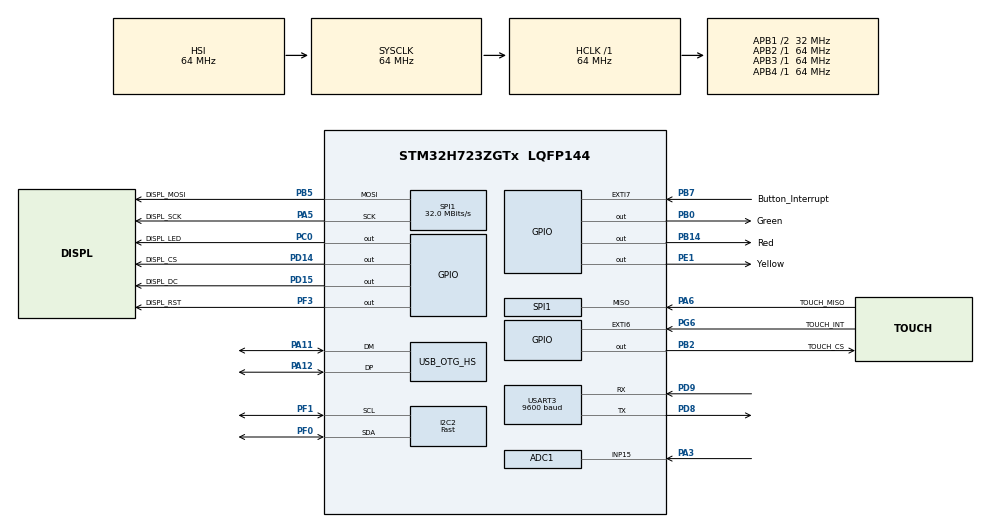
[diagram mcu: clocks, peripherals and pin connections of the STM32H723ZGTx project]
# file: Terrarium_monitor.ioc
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ADC1.Channel-1\#ChannelRegularConversion=ADC_CHANNEL_15
ADC1.NbrOfConversionFlag=1
ADC1.OffsetNumber-1\#ChannelRegularConversion=ADC_OFFSET_NONE
ADC1.OffsetSignedSaturation-1\#ChannelRegularConversion=DISABLE
ADC1.Rank-1\#ChannelRegularConversion=1
ADC1.SamplingTime-1\#ChannelRegularConversion=ADC_SAMPLETIME_1CYCLE_5
ADC1.master=1
Dma.Request0=SPI1_TX
Dma.SPI1_TX.0.Direction=DMA_MEMORY_TO_PERIPH
Dma.SPI1_TX.0.EventEnable=DISABLE
Dma.SPI1_TX.0.FIFOMode=DMA_FIFOMODE_DISABLE
Dma.SPI1_TX.0.Instance=DMA1_Stream0
Dma.SPI1_TX.0.MemDataAlignment=DMA_MDATAALIGN_BYTE
Dma.SPI1_TX.0.MemInc=DMA_MINC_ENABLE
Dma.SPI1_TX.0.Mode=DMA_NORMAL
Dma.SPI1_TX.0.PeriphDataAlignment=DMA_PDATAALIGN_BYTE
Dma.SPI1_TX.0.PeriphInc=DMA_PINC_DISABLE
Dma.SPI1_TX.0.Polarity=HAL_DMAMUX_REQ_GEN_RISING
Dma.SPI1_TX.0.Priority=DMA_PRIORITY_LOW
Dma.SPI1_TX.0.RequestNumber=1
Dma.SPI1_TX.0.SignalID=NONE
Dma.SPI1_TX.0.SyncEnable=DISABLE
Dma.SPI1_TX.0.SyncPolarity=HAL_DMAMUX_SYNC_NO_EVENT
Dma.SPI1_TX.0.SyncRequestNumber=1
Dma.SPI1_TX.0.SyncSignalID=NONE
FREERTOS.Tasks01=BoardLedTask,32,256,StartBoardLedTask,Default,NULL,Dynamic,NULL,NULL;UartTask,24,256,StartUartTask,Default,NULL,Dynamic,NULL,NULL;TemperatureRead,33,256,StartTemperatureReadTask,Default,NULL,Dynamic,NULL,NULL;UVSensorTask,32,256,StartUVSensorTask,Default,NULL,Dynamic,NULL,NULL;ButtonTask,24,256,StartButtonTask,Default,NULL,Dynamic,NULL,NULL;TouchGFXTask,24,8192,TouchGFX_Task,As external,NULL,Dynamic,NULL,NULL
FREERTOS.configCHECK_FOR_STACK_OVERFLOW=1
FREERTOS.configGENERATE_RUN_TIME_STATS=1
FREERTOS.configRECORD_STACK_HIGH_ADDRESS=1
FREERTOS.configTOTAL_HEAP_SIZE=65536
FREERTOS.configUSE_POSIX_ERRNO=0
I2C2.Analog_Filter=I2C_ANALOGFILTER_ENABLE
I2C2.I2C_Speed_Mode=I2C_Fast
I2C2.Timing=0x00300F38
Mcu.Family=STM32H7
Mcu.Name=STM32H723ZGTx
Mcu.Package=LQFP144
NVIC.DMA1_Stream0_IRQn=true\:5\:0\:false\:false\:true\:true\:false\:true\:true
NVIC.EXTI9_5_IRQn=true\:5\:0\:false\:false\:true\:true\:true\:true\:true
NVIC.OTG_HS_IRQn=true\:5\:0\:false\:false\:true\:true\:false\:true\:true
NVIC.PriorityGroup=NVIC_PRIORITYGROUP_4
NVIC.SPI1_IRQn=true\:5\:0\:false\:false\:true\:true\:false\:true\:true
NVIC.TIM2_IRQn=true\:15\:0\:false\:false\:true\:false\:false\:true\:true
NVIC.TimeBase=TIM2_IRQn
NVIC.TimeBaseIP=TIM2
PA11.Mode=Device_Only_FS
PA11.Signal=USB_OTG_HS_DM
PA12.Mode=Device_Only_FS
PA12.Signal=USB_OTG_HS_DP
PA3.Signal=ADCx_INP15
PA5.GPIO_Label=DISPL_SCK
PA5.GPIO_Speed=GPIO_SPEED_FREQ_VERY_HIGH
PA5.Mode=Full_Duplex_Master
PA5.Signal=SPI1_SCK
PA6.GPIO_Label=TOUCH_MISO
PA6.GPIO_Speed=GPIO_SPEED_FREQ_VERY_HIGH
PA6.Mode=Full_Duplex_Master
PA6.Signal=SPI1_MISO
PB0.GPIO_Label=Green
PB0.Signal=GPIO_Output
PB14.GPIO_Label=Red
PB14.Signal=GPIO_Output
PB2.GPIO_Label=TOUCH_CS
PB2.GPIO_Speed=GPIO_SPEED_FREQ_HIGH
PB2.PinState=GPIO_PIN_SET
PB2.Signal=GPIO_Output
PB5.GPIO_Label=DISPL_MOSI
PB5.GPIO_Speed=GPIO_SPEED_FREQ_VERY_HIGH
PB5.Mode=Full_Duplex_Master
PB5.Signal=SPI1_MOSI
PB7.GPIO_Label=Button_Interrupt
PB7.GPIO_ModeDefaultEXTI=GPIO_MODE_IT_FALLING
PB7.GPIO_PuPd=GPIO_PULLUP
PB7.Signal=GPXTI7
PC0.GPIO_Label=DISPL_LED
PC0.PinState=GPIO_PIN_SET
PC0.Signal=GPIO_Output
PD14.GPIO_Label=DISPL_CS
PD14.GPIO_Speed=GPIO_SPEED_FREQ_HIGH
PD14.PinState=GPIO_PIN_SET
PD14.Signal=GPIO_Output
PD15.GPIO_Label=DISPL_DC
PD15.GPIO_Speed=GPIO_SPEED_FREQ_HIGH
PD15.Signal=GPIO_Output
PD8.Mode=Asynchronous
PD8.Signal=USART3_TX
PD9.Mode=Asynchronous
PD9.Signal=USART3_RX
PE1.GPIO_Label=Yellow
PE1.Signal=GPIO_Output
PF0.Mode=I2C
PF0.Signal=I2C2_SDA
PF1.Mode=I2C
PF1.Signal=I2C2_SCL
PF3.GPIO_Label=DISPL_RST
PF3.GPIO_Speed=GPIO_SPEED_FREQ_LOW
PF3.Signal=GPIO_Output
PG6.GPIO_Label=TOUCH_INT
PG6.GPIO_ModeDefaultEXTI=GPIO_MODE_IT_FALLING
PG6.GPIO_PuPd=GPIO_PULLUP
PG6.Signal=GPXTI6
PH0-OSC_IN.Mode=HSE-External-Oscillator
PH0-OSC_IN.Signal=RCC_OSC_IN
PH1-OSC_OUT.Mode=HSE-External-Oscillator
PH1-OSC_OUT.Signal=RCC_OSC_OUT
ProjectManager.HeapSize=0x200
ProjectManager.StackSize=0x400
ProjectManager.TargetToolchain=STM32CubeIDE
RCC.ADCFreq_Value=38400000
RCC.APB1Freq_Value=32000000
RCC.APB2Freq_Value=64000000
RCC.APB3Freq_Value=64000000
RCC.APB4Freq_Value=64000000
RCC.CortexFreq_Value=64000000
RCC.D2PPRE1=RCC_APB1_DIV2
RCC.DIVM1=4
RCC.DIVM2=4
RCC.DIVN1=12
RCC.DIVN2=12
RCC.DIVP2=5
RCC.DIVQ1=3
RCC.HCLKFreq_Value=64000000
RCC.HSE_VALUE=25000000
RCC.PLL2FRACN=0
RCC.PLL2_VCO_SEL-AdvancedSettings=RCC_PLL2VCOWIDE
RCC.PLL3_VCI_Range-AdvancedSettings=RCC_PLL3VCIRANGE_3
RCC.PLLFRACN=0
RCC.SYSCLKFreq_VALUE=64000000
RCC.USBCLockSelection=RCC_USBCLKSOURCE_HSI48
RCC.USBFreq_Value=48000000
SH.ADCx_INP15.0=ADC1_INP15,IN15-Single-Ended
SPI1.CalculateBaudRate=32.0 MBits/s
SPI1.DataSize=SPI_DATASIZE_8BIT
SPI1.Direction=SPI_DIRECTION_2LINES
SPI1.Mode=SPI_MODE_MASTER
SPI1.NSSPMode=SPI_NSS_PULSE_ENABLE
SPI1.VirtualType=VM_MASTER
STMicroelectronics.X-CUBE-TOUCHGFX.4.22.1.ApplicationCcGraphicsJjApplication=TouchGFXOoGenerator
STMicroelectronics.X-CUBE-TOUCHGFX.4.22.1.tgfx_buffering_strategy=Partial
STMicroelectronics.X-CUBE-TOUCHGFX.4.22.1.tgfx_custom_height=320
STMicroelectronics.X-CUBE-TOUCHGFX.4.22.1.tgfx_custom_width=480
STMicroelectronics.X-CUBE-TOUCHGFX.4.22.1.tgfx_partialfb_transmit_strategy=Disabled
STMicroelectronics.X-CUBE-TOUCHGFX.4.22.1_IsPackSelfContextualization=true
TIM3.Channel-PWM\ Generation1\ No\ Output=TIM_CHANNEL_1
USART3.BaudRate=9600
USART3.VirtualMode-Asynchronous=VM_ASYNC
USB_DEVICE.CLASS_NAME_HS=CDC
USB_DEVICE.PRODUCT_STRING_CDC_HS=STM32 ComPort for USB
USB_DEVICE.VirtualMode=Cdc
USB_DEVICE.VirtualModeHS=Cdc_HS
USB_OTG_HS.VirtualMode-Device_Only_FS=Device_Only_FS
VP_CRC_VS_CRC.Mode=CRC_Activate
VP_DMA2D_VS_DMA2D.Mode=DMA2D_Activate
VP_FREERTOS_VS_CMSIS_V2.Mode=CMSIS_V2
VP_STMicroelectronics.X-CUBE-TOUCHGFX_VS_GraphicsJjApplication_4.22.1.Mode=GraphicsJjApplication
VP_SYS_VS_tim2.Mode=TIM2
VP_TIM1_VS_ClockSourceITR.Mode=TriggerSource_ITR0
VP_TIM1_VS_ControllerModeClock.Mode=Clock Mode
VP_TIM3_VS_ClockSourceITR.Mode=TriggerSource_ITR0
VP_TIM3_VS_ControllerModeClock.Mode=Clock Mode
VP_TIM3_VS_no_output1.Mode=PWM Generation1 No Output
VP_USB_DEVICE_VS_USB_DEVICE_CDC_HS.Mode=CDC_HS
board=custom

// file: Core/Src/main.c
/* USER CODE BEGIN Header */
/**
  ******************************************************************************
  * @file           : main.cpp
  * @brief          : Main program body
  ******************************************************************************
  * @attention
  *
  * Copyright (c) 2023 STMicroelectronics.
  * All rights reserved.
  *
  * This software is licensed under terms that can be found in the LICENSE file
  * in the root directory of this software component.
  * If no LICENSE file comes with this software, it is provided AS-IS.
  *
  ******************************************************************************
  */
/* USER CODE END Header */
#include "main.h"
#include "cmsis_os.h"
#include "app_touchgfx.h"
#include "usb_device.h"

/* USER CODE BEGIN Includes */
#include <stdio.h>
#include "usbd_cdc_if.h"
#include "string.h"
#include "semphr.h"
#include "queue.h"
/* USER CODE END Includes */

ADC_HandleTypeDef hadc1;

CRC_HandleTypeDef hcrc;

DMA2D_HandleTypeDef hdma2d;

I2C_HandleTypeDef hi2c2;

SPI_HandleTypeDef hspi1;
DMA_HandleTypeDef hdma_spi1_tx;

TIM_HandleTypeDef htim1;
TIM_HandleTypeDef htim3;

UART_HandleTypeDef huart3;

/* Definitions for BoardLedTask */
osThreadId_t BoardLedTaskHandle;
const osThreadAttr_t BoardLedTask_attributes = {
  .name = "BoardLedTask",
  .stack_size = 256 * 4,
  .priority = (osPriority_t) osPriorityAboveNormal,
};
/* Definitions for UartTask */
osThreadId_t UartTaskHandle;
const osThreadAttr_t UartTask_attributes = {
  .name = "UartTask",
  .stack_size = 256 * 4,
  .priority = (osPriority_t) osPriorityNormal,
};
/* Definitions for TemperatureRead */
osThreadId_t TemperatureReadHandle;
const osThreadAttr_t TemperatureRead_attributes = {
  .name = "TemperatureRead",
  .stack_size = 256 * 4,
  .priority = (osPriority_t) osPriorityAboveNormal1,
};
/* Definitions for UVSensorTask */
osThreadId_t UVSensorTaskHandle;
const osThreadAttr_t UVSensorTask_attributes = {
  .name = "UVSensorTask",
  .stack_size = 256 * 4,
  .priority = (osPriority_t) osPriorityAboveNormal,
};
/* Definitions for ButtonTask */
osThreadId_t ButtonTaskHandle;
const osThreadAttr_t ButtonTask_attributes = {
  .name = "ButtonTask",
  .stack_size = 256 * 4,
  .priority = (osPriority_t) osPriorityNormal,
};
/* Definitions for TouchGFXTask */
osThreadId_t TouchGFXTaskHandle;
const osThreadAttr_t TouchGFXTask_attributes = {
  .name = "TouchGFXTask",
  .stack_size = 8192 * 4,
  .priority = (osPriority_t) osPriorityNormal,
};

void SystemClock_Config(void);
static void MX_GPIO_Init(void);
static void MX_DMA_Init(void);
static void MX_ADC1_Init(void);
static void MX_CRC_Init(void);
static void MX_DMA2D_Init(void);
static void MX_SPI1_Init(void);
static void MX_USART3_UART_Init(void);
static void MX_TIM1_Init(void);
static void MX_TIM3_Init(void);
static void MX_I2C2_Init(void);
void StartBoardLedTask(void *argument);
void StartUartTask(void *argument);
void StartTemperatureReadTask(void *argument);
void StartUVSensorTask(void *argument);
void StartButtonTask(void *argument);
extern void TouchGFX_Task(void *argument);

/* USER CODE BEGIN 0 */
SemaphoreHandle_t buttonSemaphore;
extern xQueueHandle tempMessage;
extern xQueueHandle humMessage;
extern xQueueHandle uvMessage;
extern float tempVal;
extern unsigned int humVal;
extern float uvVal;
/* USER CODE END 0 */

int main(void)
{

  /* MCU Configuration--------------------------------------------------------*/

  /* Reset of all peripherals, Initializes the Flash interface and the Systick. */
  HAL_Init();

  /* Configure the system clock */
  SystemClock_Config();

  /* Initialize all configured peripherals */
  MX_GPIO_Init();
  MX_DMA_Init();
  MX_ADC1_Init();
  MX_CRC_Init();
  MX_DMA2D_Init();
  MX_SPI1_Init();
  MX_USART3_UART_Init();
  MX_TIM1_Init();
  MX_TIM3_Init();
  MX_I2C2_Init();
  MX_TouchGFX_Init();
  /* Call PreOsInit function */
  MX_TouchGFX_PreOSInit();
  /* USER CODE BEGIN 2 */
  Displ_Init(Displ_Orientat_0);
  touchgfxSignalVSync();
  /* USER CODE END 2 */

  /* Init scheduler */
  osKernelInitialize();

  /* USER CODE BEGIN RTOS_SEMAPHORES */
  buttonSemaphore = xSemaphoreCreateBinary();
  /* USER CODE END RTOS_SEMAPHORES */

  /* Create the thread(s) */
  /* creation of BoardLedTask */
  BoardLedTaskHandle = osThreadNew(StartBoardLedTask, NULL, &BoardLedTask_attributes);

  /* creation of UartTask */
  UartTaskHandle = osThreadNew(StartUartTask, NULL, &UartTask_attributes);

  /* creation of TemperatureRead */
  TemperatureReadHandle = osThreadNew(StartTemperatureReadTask, NULL, &TemperatureRead_attributes);

  /* creation of UVSensorTask */
  UVSensorTaskHandle = osThreadNew(StartUVSensorTask, NULL, &UVSensorTask_attributes);

  /* creation of ButtonTask */
  ButtonTaskHandle = osThreadNew(StartButtonTask, NULL, &ButtonTask_attributes);

  /* creation of TouchGFXTask */
  TouchGFXTaskHandle = osThreadNew(TouchGFX_Task, NULL, &TouchGFXTask_attributes);

  /* Start scheduler */
  osKernelStart();

  /* We should never get here as control is now taken by the scheduler */
  /* Infinite loop */
  while (1)
  {
	  MX_TouchGFX_Process();
  }
}

void SystemClock_Config(void)
{
  RCC_OscInitTypeDef RCC_OscInitStruct = {0};
  RCC_ClkInitTypeDef RCC_ClkInitStruct = {0};

  /** Supply configuration update enable
  */
  HAL_PWREx_ConfigSupply(PWR_LDO_SUPPLY);

  /** Configure the main internal regulator output voltage
  */
  __HAL_PWR_VOLTAGESCALING_CONFIG(PWR_REGULATOR_VOLTAGE_SCALE3);

  while(!__HAL_PWR_GET_FLAG(PWR_FLAG_VOSRDY)) {}

  /** Initializes the RCC Oscillators according to the specified parameters
  * in the RCC_OscInitTypeDef structure.
  */
  RCC_OscInitStruct.OscillatorType = RCC_OSCILLATORTYPE_HSI48|RCC_OSCILLATORTYPE_HSI;
  RCC_OscInitStruct.HSIState = RCC_HSI_DIV1;
  RCC_OscInitStruct.HSICalibrationValue = 64;
  RCC_OscInitStruct.HSI48State = RCC_HSI48_ON;
  RCC_OscInitStruct.PLL.PLLState = RCC_PLL_ON;
  RCC_OscInitStruct.PLL.PLLSource = RCC_PLLSOURCE_HSI;
  RCC_OscInitStruct.PLL.PLLM = 4;
  RCC_OscInitStruct.PLL.PLLN = 12;
  RCC_OscInitStruct.PLL.PLLP = 2;
  RCC_OscInitStruct.PLL.PLLQ = 3;
  RCC_OscInitStruct.PLL.PLLR = 2;
  RCC_OscInitStruct.PLL.PLLRGE = RCC_PLL1VCIRANGE_3;
  RCC_OscInitStruct.PLL.PLLVCOSEL = RCC_PLL1VCOWIDE;
  RCC_OscInitStruct.PLL.PLLFRACN = 0;
  if (HAL_RCC_OscConfig(&RCC_OscInitStruct) != HAL_OK)
  {
    Error_Handler();
  }

  /** Initializes the CPU, AHB and APB buses clocks
  */
  RCC_ClkInitStruct.ClockType = RCC_CLOCKTYPE_HCLK|RCC_CLOCKTYPE_SYSCLK
                              |RCC_CLOCKTYPE_PCLK1|RCC_CLOCKTYPE_PCLK2
                              |RCC_CLOCKTYPE_D3PCLK1|RCC_CLOCKTYPE_D1PCLK1;
  RCC_ClkInitStruct.SYSCLKSource = RCC_SYSCLKSOURCE_HSI;
  RCC_ClkInitStruct.SYSCLKDivider = RCC_SYSCLK_DIV1;
  RCC_ClkInitStruct.AHBCLKDivider = RCC_HCLK_DIV1;
  RCC_ClkInitStruct.APB3CLKDivider = RCC_APB3_DIV1;
  RCC_ClkInitStruct.APB1CLKDivider = RCC_APB1_DIV2;
  RCC_ClkInitStruct.APB2CLKDivider = RCC_APB2_DIV1;
  RCC_ClkInitStruct.APB4CLKDivider = RCC_APB4_DIV1;

  if (HAL_RCC_ClockConfig(&RCC_ClkInitStruct, FLASH_LATENCY_1) != HAL_OK)
  {
    Error_Handler();
  }
}

static void MX_ADC1_Init(void)
{

  ADC_MultiModeTypeDef multimode = {0};
  ADC_ChannelConfTypeDef sConfig = {0};

  /** Common config
  */
  hadc1.Instance = ADC1;
  hadc1.Init.ClockPrescaler = ADC_CLOCK_ASYNC_DIV1;
  hadc1.Init.Resolution = ADC_RESOLUTION_16B;
  hadc1.Init.ScanConvMode = ADC_SCAN_DISABLE;
  hadc1.Init.EOCSelection = ADC_EOC_SINGLE_CONV;
  hadc1.Init.LowPowerAutoWait = DISABLE;
  hadc1.Init.ContinuousConvMode = DISABLE;
  hadc1.Init.NbrOfConversion = 1;
  hadc1.Init.DiscontinuousConvMode = DISABLE;
  hadc1.Init.ExternalTrigConv = ADC_SOFTWARE_START;
  hadc1.Init.ExternalTrigConvEdge = ADC_EXTERNALTRIGCONVEDGE_NONE;
  hadc1.Init.ConversionDataManagement = ADC_CONVERSIONDATA_DR;
  hadc1.Init.Overrun = ADC_OVR_DATA_PRESERVED;
  hadc1.Init.LeftBitShift = ADC_LEFTBITSHIFT_NONE;
  hadc1.Init.OversamplingMode = DISABLE;
  if (HAL_ADC_Init(&hadc1) != HAL_OK)
  {
    Error_Handler();
  }

  /** Configure the ADC multi-mode
  */
  multimode.Mode = ADC_MODE_INDEPENDENT;
  if (HAL_ADCEx_MultiModeConfigChannel(&hadc1, &multimode) != HAL_OK)
  {
    Error_Handler();
  }

  /** Configure Regular Channel
  */
  sConfig.Channel = ADC_CHANNEL_15;
  sConfig.Rank = ADC_REGULAR_RANK_1;
  sConfig.SamplingTime = ADC_SAMPLETIME_1CYCLE_5;
  sConfig.SingleDiff = ADC_SINGLE_ENDED;
  sConfig.OffsetNumber = ADC_OFFSET_NONE;
  sConfig.Offset = 0;
  sConfig.OffsetSignedSaturation = DISABLE;
  if (HAL_ADC_ConfigChannel(&hadc1, &sConfig) != HAL_OK)
  {
    Error_Handler();
  }

}

static void MX_CRC_Init(void)
{

  hcrc.Instance = CRC;
  hcrc.Init.DefaultPolynomialUse = DEFAULT_POLYNOMIAL_ENABLE;
  hcrc.Init.DefaultInitValueUse = DEFAULT_INIT_VALUE_ENABLE;
  hcrc.Init.InputDataInversionMode = CRC_INPUTDATA_INVERSION_NONE;
  hcrc.Init.OutputDataInversionMode = CRC_OUTPUTDATA_INVERSION_DISABLE;
  hcrc.InputDataFormat = CRC_INPUTDATA_FORMAT_BYTES;
  if (HAL_CRC_Init(&hcrc) != HAL_OK)
  {
    Error_Handler();
  }

}

static void MX_DMA2D_Init(void)
{

  hdma2d.Instance = DMA2D;
  hdma2d.Init.Mode = DMA2D_M2M;
  hdma2d.Init.ColorMode = DMA2D_OUTPUT_ARGB8888;
  hdma2d.Init.OutputOffset = 0;
  hdma2d.LayerCfg[1].InputOffset = 0;
  hdma2d.LayerCfg[1].InputColorMode = DMA2D_INPUT_ARGB8888;
  hdma2d.LayerCfg[1].AlphaMode = DMA2D_NO_MODIF_ALPHA;
  hdma2d.LayerCfg[1].InputAlpha = 0;
  hdma2d.LayerCfg[1].AlphaInverted = DMA2D_REGULAR_ALPHA;
  hdma2d.LayerCfg[1].RedBlueSwap = DMA2D_RB_REGULAR;
  hdma2d.LayerCfg[1].ChromaSubSampling = DMA2D_NO_CSS;
  if (HAL_DMA2D_Init(&hdma2d) != HAL_OK)
  {
    Error_Handler();
  }
  if (HAL_DMA2D_ConfigLayer(&hdma2d, 1) != HAL_OK)
  {
    Error_Handler();
  }

}

static void MX_I2C2_Init(void)
{

  hi2c2.Instance = I2C2;
  hi2c2.Init.Timing = 0x00300F38;
  hi2c2.Init.OwnAddress1 = 0;
  hi2c2.Init.AddressingMode = I2C_ADDRESSINGMODE_7BIT;
  hi2c2.Init.DualAddressMode = I2C_DUALADDRESS_DISABLE;
  hi2c2.Init.OwnAddress2 = 0;
  hi2c2.Init.OwnAddress2Masks = I2C_OA2_NOMASK;
  hi2c2.Init.GeneralCallMode = I2C_GENERALCALL_DISABLE;
  hi2c2.Init.NoStretchMode = I2C_NOSTRETCH_DISABLE;
  if (HAL_I2C_Init(&hi2c2) != HAL_OK)
  {
    Error_Handler();
  }

  /** Configure Analogue filter
  */
  if (HAL_I2CEx_ConfigAnalogFilter(&hi2c2, I2C_ANALOGFILTER_ENABLE) != HAL_OK)
  {
    Error_Handler();
  }

  /** Configure Digital filter
  */
  if (HAL_I2CEx_ConfigDigitalFilter(&hi2c2, 0) != HAL_OK)
  {
    Error_Handler();
  }

}

static void MX_SPI1_Init(void)
{

  /* SPI1 parameter configuration*/
  hspi1.Instance = SPI1;
  hspi1.Init.Mode = SPI_MODE_MASTER;
  hspi1.Init.Direction = SPI_DIRECTION_2LINES;
  hspi1.Init.DataSize = SPI_DATASIZE_8BIT;
  hspi1.Init.CLKPolarity = SPI_POLARITY_LOW;
  hspi1.Init.CLKPhase = SPI_PHASE_1EDGE;
  hspi1.Init.NSS = SPI_NSS_SOFT;
  hspi1.Init.BaudRatePrescaler = SPI_BAUDRATEPRESCALER_2;
  hspi1.Init.FirstBit = SPI_FIRSTBIT_MSB;
  hspi1.Init.TIMode = SPI_TIMODE_DISABLE;
  hspi1.Init.CRCCalculation = SPI_CRCCALCULATION_DISABLE;
  hspi1.Init.CRCPolynomial = 0x0;
  hspi1.Init.NSSPMode = SPI_NSS_PULSE_ENABLE;
  hspi1.Init.NSSPolarity = SPI_NSS_POLARITY_LOW;
  hspi1.Init.FifoThreshold = SPI_FIFO_THRESHOLD_01DATA;
  hspi1.Init.TxCRCInitializationPattern = SPI_CRC_INITIALIZATION_ALL_ZERO_PATTERN;
  hspi1.Init.RxCRCInitializationPattern = SPI_CRC_INITIALIZATION_ALL_ZERO_PATTERN;
  hspi1.Init.MasterSSIdleness = SPI_MASTER_SS_IDLENESS_00CYCLE;
  hspi1.Init.MasterInterDataIdleness = SPI_MASTER_INTERDATA_IDLENESS_00CYCLE;
  hspi1.Init.MasterReceiverAutoSusp = SPI_MASTER_RX_AUTOSUSP_DISABLE;
  hspi1.Init.MasterKeepIOState = SPI_MASTER_KEEP_IO_STATE_DISABLE;
  hspi1.Init.IOSwap = SPI_IO_SWAP_DISABLE;
  if (HAL_SPI_Init(&hspi1) != HAL_OK)
  {
    Error_Handler();
  }

}

static void MX_TIM1_Init(void)
{

  TIM_SlaveConfigTypeDef sSlaveConfig = {0};
  TIM_MasterConfigTypeDef sMasterConfig = {0};

  htim1.Instance = TIM1;
  htim1.Init.Prescaler = 0;
  htim1.Init.CounterMode = TIM_COUNTERMODE_UP;
  htim1.Init.Period = 65535;
  htim1.Init.ClockDivision = TIM_CLOCKDIVISION_DIV1;
  htim1.Init.RepetitionCounter = 0;
  htim1.Init.AutoReloadPreload = TIM_AUTORELOAD_PRELOAD_DISABLE;
  if (HAL_TIM_Base_Init(&htim1) != HAL_OK)
  {
    Error_Handler();
  }
  sSlaveConfig.SlaveMode = TIM_SLAVEMODE_EXTERNAL1;
  sSlaveConfig.InputTrigger = TIM_TS_ITR0;
  if (HAL_TIM_SlaveConfigSynchro(&htim1, &sSlaveConfig) != HAL_OK)
  {
    Error_Handler();
  }
  sMasterConfig.MasterOutputTrigger = TIM_TRGO_RESET;
  sMasterConfig.MasterOutputTrigger2 = TIM_TRGO2_RESET;
  sMasterConfig.MasterSlaveMode = TIM_MASTERSLAVEMODE_DISABLE;
  if (HAL_TIMEx_MasterConfigSynchronization(&htim1, &sMasterConfig) != HAL_OK)
  {
    Error_Handler();
  }

}

static void MX_TIM3_Init(void)
{

  TIM_SlaveConfigTypeDef sSlaveConfig = {0};
  TIM_MasterConfigTypeDef sMasterConfig = {0};
  TIM_OC_InitTypeDef sConfigOC = {0};

  htim3.Instance = TIM3;
  htim3.Init.Prescaler = 0;
  htim3.Init.CounterMode = TIM_COUNTERMODE_UP;
  htim3.Init.Period = 65535;
  htim3.Init.ClockDivision = TIM_CLOCKDIVISION_DIV1;
  htim3.Init.AutoReloadPreload = TIM_AUTORELOAD_PRELOAD_DISABLE;
  if (HAL_TIM_Base_Init(&htim3) != HAL_OK)
  {
    Error_Handler();
  }
  if (HAL_TIM_PWM_Init(&htim3) != HAL_OK)
  {
    Error_Handler();
  }
  sSlaveConfig.SlaveMode = TIM_SLAVEMODE_EXTERNAL1;
  sSlaveConfig.InputTrigger = TIM_TS_ITR0;
  if (HAL_TIM_SlaveConfigSynchro(&htim3, &sSlaveConfig) != HAL_OK)
  {
    Error_Handler();
  }
  sMasterConfig.MasterOutputTrigger = TIM_TRGO_RESET;
  sMasterConfig.MasterSlaveMode = TIM_MASTERSLAVEMODE_DISABLE;
  if (HAL_TIMEx_MasterConfigSynchronization(&htim3, &sMasterConfig) != HAL_OK)
  {
    Error_Handler();
  }
  sConfigOC.OCMode = TIM_OCMODE_PWM1;
  sConfigOC.Pulse = 0;
  sConfigOC.OCPolarity = TIM_OCPOLARITY_HIGH;
  sConfigOC.OCFastMode = TIM_OCFAST_DISABLE;
  if (HAL_TIM_PWM_ConfigChannel(&htim3, &sConfigOC, TIM_CHANNEL_1) != HAL_OK)
  {
    Error_Handler();
  }

}

static void MX_USART3_UART_Init(void)
{

  huart3.Instance = USART3;
  huart3.Init.BaudRate = 9600;
  huart3.Init.WordLength = UART_WORDLENGTH_8B;
  huart3.Init.StopBits = UART_STOPBITS_1;
  huart3.Init.Parity = UART_PARITY_NONE;
  huart3.Init.Mode = UART_MODE_TX_RX;
  huart3.Init.HwFlowCtl = UART_HWCONTROL_NONE;
  huart3.Init.OverSampling = UART_OVERSAMPLING_16;
  huart3.Init.OneBitSampling = UART_ONE_BIT_SAMPLE_DISABLE;
  huart3.Init.ClockPrescaler = UART_PRESCALER_DIV1;
  huart3.AdvancedInit.AdvFeatureInit = UART_ADVFEATURE_NO_INIT;
  if (HAL_UART_Init(&huart3) != HAL_OK)
  {
    Error_Handler();
  }
  if (HAL_UARTEx_SetTxFifoThreshold(&huart3, UART_TXFIFO_THRESHOLD_1_8) != HAL_OK)
  {
    Error_Handler();
  }
  if (HAL_UARTEx_SetRxFifoThreshold(&huart3, UART_RXFIFO_THRESHOLD_1_8) != HAL_OK)
  {
    Error_Handler();
  }
  if (HAL_UARTEx_DisableFifoMode(&huart3) != HAL_OK)
  {
    Error_Handler();
  }

}

static void MX_DMA_Init(void)
{

  /* DMA controller clock enable */
  __HAL_RCC_DMA1_CLK_ENABLE();

  /* DMA interrupt init */
  /* DMA1_Stream0_IRQn interrupt configuration */
  HAL_NVIC_SetPriority(DMA1_Stream0_IRQn, 5, 0);
  HAL_NVIC_EnableIRQ(DMA1_Stream0_IRQn);

}

static void MX_GPIO_Init(void)
{
  GPIO_InitTypeDef GPIO_InitStruct = {0};

  /* GPIO Ports Clock Enable */
  __HAL_RCC_GPIOF_CLK_ENABLE();
  __HAL_RCC_GPIOH_CLK_ENABLE();
  __HAL_RCC_GPIOC_CLK_ENABLE();
  __HAL_RCC_GPIOA_CLK_ENABLE();
  __HAL_RCC_GPIOB_CLK_ENABLE();
  __HAL_RCC_GPIOD_CLK_ENABLE();
  __HAL_RCC_GPIOG_CLK_ENABLE();
  __HAL_RCC_GPIOE_CLK_ENABLE();

  /*Configure GPIO pin Output Level */
  HAL_GPIO_WritePin(DISPL_RST_GPIO_Port, DISPL_RST_Pin, GPIO_PIN_RESET);

  /*Configure GPIO pin Output Level */
  HAL_GPIO_WritePin(DISPL_LED_GPIO_Port, DISPL_LED_Pin, GPIO_PIN_SET);

  /*Configure GPIO pin Output Level */
  HAL_GPIO_WritePin(GPIOB, Green_Pin|Red_Pin, GPIO_PIN_RESET);

  /*Configure GPIO pin Output Level */
  HAL_GPIO_WritePin(TOUCH_CS_GPIO_Port, TOUCH_CS_Pin, GPIO_PIN_SET);

  /*Configure GPIO pin Output Level */
  HAL_GPIO_WritePin(DISPL_CS_GPIO_Port, DISPL_CS_Pin, GPIO_PIN_SET);

  /*Configure GPIO pin Output Level */
  HAL_GPIO_WritePin(DISPL_DC_GPIO_Port, DISPL_DC_Pin, GPIO_PIN_RESET);

  /*Configure GPIO pin Output Level */
  HAL_GPIO_WritePin(Yellow_GPIO_Port, Yellow_Pin, GPIO_PIN_RESET);

  /*Configure GPIO pin : DISPL_RST_Pin */
  GPIO_InitStruct.Pin = DISPL_RST_Pin;
  GPIO_InitStruct.Mode = GPIO_MODE_OUTPUT_PP;
  GPIO_InitStruct.Pull = GPIO_NOPULL;
  GPIO_InitStruct.Speed = GPIO_SPEED_FREQ_LOW;
  HAL_GPIO_Init(DISPL_RST_GPIO_Port, &GPIO_InitStruct);

  /*Configure GPIO pin : DISPL_LED_Pin */
  GPIO_InitStruct.Pin = DISPL_LED_Pin;
  GPIO_InitStruct.Mode = GPIO_MODE_OUTPUT_PP;
  GPIO_InitStruct.Pull = GPIO_NOPULL;
  GPIO_InitStruct.Speed = GPIO_SPEED_FREQ_LOW;
  HAL_GPIO_Init(DISPL_LED_GPIO_Port, &GPIO_InitStruct);

  /*Configure GPIO pins : Green_Pin Red_Pin */
  GPIO_InitStruct.Pin = Green_Pin|Red_Pin;
  GPIO_InitStruct.Mode = GPIO_MODE_OUTPUT_PP;
  GPIO_InitStruct.Pull = GPIO_NOPULL;
  GPIO_InitStruct.Speed = GPIO_SPEED_FREQ_LOW;
  HAL_GPIO_Init(GPIOB, &GPIO_InitStruct);

  /*Configure GPIO pin : TOUCH_CS_Pin */
  GPIO_InitStruct.Pin = TOUCH_CS_Pin;
  GPIO_InitStruct.Mode = GPIO_MODE_OUTPUT_PP;
  GPIO_InitStruct.Pull = GPIO_NOPULL;
  GPIO_InitStruct.Speed = GPIO_SPEED_FREQ_HIGH;
  HAL_GPIO_Init(TOUCH_CS_GPIO_Port, &GPIO_InitStruct);

  /*Configure GPIO pins : DISPL_CS_Pin DISPL_DC_Pin */
  GPIO_InitStruct.Pin = DISPL_CS_Pin|DISPL_DC_Pin;
  GPIO_InitStruct.Mode = GPIO_MODE_OUTPUT_PP;
  GPIO_InitStruct.Pull = GPIO_NOPULL;
  GPIO_InitStruct.Speed = GPIO_SPEED_FREQ_HIGH;
  HAL_GPIO_Init(GPIOD, &GPIO_InitStruct);

  /*Configure GPIO pin : TOUCH_INT_Pin */
  GPIO_InitStruct.Pin = TOUCH_INT_Pin;
  GPIO_InitStruct.Mode = GPIO_MODE_IT_FALLING;
  GPIO_InitStruct.Pull = GPIO_PULLUP;
  HAL_GPIO_Init(TOUCH_INT_GPIO_Port, &GPIO_InitStruct);

  /*Configure GPIO pin : Button_Interrupt_Pin */
  GPIO_InitStruct.Pin = Button_Interrupt_Pin;
  GPIO_InitStruct.Mode = GPIO_MODE_IT_FALLING;
  GPIO_InitStruct.Pull = GPIO_PULLUP;
  HAL_GPIO_Init(Button_Interrupt_GPIO_Port, &GPIO_InitStruct);

  /*Configure GPIO pin : Yellow_Pin */
  GPIO_InitStruct.Pin = Yellow_Pin;
  GPIO_InitStruct.Mode = GPIO_MODE_OUTPUT_PP;
  GPIO_InitStruct.Pull = GPIO_NOPULL;
  GPIO_InitStruct.Speed = GPIO_SPEED_FREQ_LOW;
  HAL_GPIO_Init(Yellow_GPIO_Port, &GPIO_InitStruct);

  /* EXTI interrupt init*/
  HAL_NVIC_SetPriority(EXTI9_5_IRQn, 5, 0);
  HAL_NVIC_EnableIRQ(EXTI9_5_IRQn);

}

/* USER CODE BEGIN 4 */

void HAL_GPIO_EXTI_Callback(uint16_t GPIO_Pin)
{
	if(GPIO_Pin == Button_Interrupt_Pin)
	{
		xSemaphoreGiveFromISR(buttonSemaphore, pdFALSE);
	}
	else
	{
		__NOP();
	}
}

/* USER CODE END 4 */

void StartBoardLedTask(void *argument)
{
  /* init code for USB_DEVICE */
  MX_USB_DEVICE_Init();
  /* USER CODE BEGIN 5 */
  /* Infinite loop */
  for(;;)
  {
	  // Green LED
	  HAL_GPIO_TogglePin(Green_GPIO_Port, Green_Pin);
	  osDelay(100);

	  // Yellow LED
	  HAL_GPIO_TogglePin(Yellow_GPIO_Port, Yellow_Pin);
	  osDelay(100);

	  // Red LED
	  HAL_GPIO_TogglePin(Red_GPIO_Port, Red_Pin);
	  osDelay(100);
  }
  /* USER CODE END 5 */
}

void StartUartTask(void *argument)
{
  /* USER CODE BEGIN StartUartTask */
	uint32_t timer = 0;
  /* Infinite loop */
  for(;;)
  {
	  char output[30];
	  sprintf(output, "Timer: %lu\r\n", timer * 5);
	  HAL_UART_Transmit(&huart3, (uint8_t*)output, strlen(output), 100);
	  osDelay(5000);
	  timer++;
  }
  /* USER CODE END StartUartTask */
}

void StartTemperatureReadTask(void *argument)
{
  /* USER CODE BEGIN StartTemperatureReadTask */
  /* Infinite loop */
  for(;;)
  {
	  uint8_t address = 0x27 << 1;
	  uint8_t readCommand = 0x27 << 1 | 0x01;

	  HAL_I2C_Master_Transmit(&hi2c2, address, NULL, 0, HAL_MAX_DELAY);

	  HAL_I2C_Master_Transmit(&hi2c2, readCommand, NULL, 0, HAL_MAX_DELAY);
	  uint8_t data[4];
	  HAL_I2C_Master_Receive(&hi2c2, address, data, 4, HAL_MAX_DELAY);

	  uint16_t humidityRaw = (((uint16_t)(data[0] & 0x3F) << 8) | data[1]);
	  uint16_t temperatureRaw = (((uint16_t)data[2] << 6) | (data[3] >> 2));

	  const float humidityScaleFactor = 1.0 / ((1 << 14) - 2);
	  float humidity = humidityRaw * humidityScaleFactor * 100.0;

	  const float temperatureScaleFactor = 165.0 / ((1 << 14) - 2);
	  float temperature = temperatureRaw * temperatureScaleFactor - 40.0;

	  xQueueSend(tempMessage, &temperature, 0);
	  xQueueSend(humMessage, &humidity, 0);

	  osDelay(10000);
  }
  /* USER CODE END StartTemperatureReadTask */
}

void StartUVSensorTask(void *argument)
{
  /* USER CODE BEGIN StartUVSensorTask */
  /* Infinite loop */
  for(;;)
  {
	  HAL_ADC_Start(&hadc1);
	  HAL_ADC_PollForConversion(&hadc1, HAL_MAX_DELAY);

	  uint16_t raw = HAL_ADC_GetValue(&hadc1);
	  float voltage = ( raw/65535.0 ) * 3.3;
	  float measurement; // In mW/cm2

	  if(voltage < 1.0)
	  {
		  measurement = 0;
	  }
	  else if(voltage > 2.8)
	  {
		  measurement = 15;
	  }
	  else
	  {
		  measurement = (voltage - 1.0) * (15 - 1.8);
	  }

	  xQueueSend(uvMessage, &measurement, 0);

	  char output[40];
	  sprintf(output, "UV level: %.2f mW/cm2\r\n", measurement);
	  HAL_UART_Transmit(&huart3, (uint8_t*)output, strlen(output), 100);

	  // Stop ADC conversion
	  HAL_ADC_Stop(&hadc1);
	  osDelay(5000);
  }
  /* USER CODE END StartUVSensorTask */
}

void StartButtonTask(void *argument)
{
  /* USER CODE BEGIN StartButtonTask */
  /* Infinite loop */
	for(;;)
	{
		if (xSemaphoreTake(buttonSemaphore, 100) == pdTRUE)
		{
			char output[20];
			sprintf(output, "Button pressed!\r\n");
			HAL_UART_Transmit(&huart3, (uint8_t*)output, strlen(output), 100);
			osDelay(500);
		}
		osDelay(30);
	}
  /* USER CODE END StartButtonTask */
}

void HAL_TIM_PeriodElapsedCallback(TIM_HandleTypeDef *htim)
{
  if (htim->Instance == TIM2) {
    HAL_IncTick();
  }
  /* USER CODE BEGIN Callback 1 */
#ifdef DISPLAY_USING_TOUCHGFX
  if (htim==&TGFX_T){
    touchgfxSignalVSync();
  }
#endif //DISPLAY_USING_TOUCHGFX

  /* USER CODE END Callback 1 */
}

void Error_Handler(void)
{
  __disable_irq();
  while (1)
  {
  }
}

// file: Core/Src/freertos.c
/* USER CODE BEGIN Header */
/**
  ******************************************************************************
  * File Name          : freertos.c
  * Description        : Code for freertos applications
  ******************************************************************************
  * @attention
  *
  * Copyright (c) 2023 STMicroelectronics.
  * All rights reserved.
  *
  * This software is licensed under terms that can be found in the LICENSE file
  * in the root directory of this software component.
  * If no LICENSE file comes with this software, it is provided AS-IS.
  *
  ******************************************************************************
  */
/* USER CODE END Header */

#include "FreeRTOS.h"
#include "task.h"
#include "main.h"

/* Hook prototypes */
void configureTimerForRunTimeStats(void);
unsigned long getRunTimeCounterValue(void);
void vApplicationStackOverflowHook(xTaskHandle xTask, signed char *pcTaskName);

/* USER CODE BEGIN 1 */
/* Functions needed when configGENERATE_RUN_TIME_STATS is on */
__weak void configureTimerForRunTimeStats(void)
{

}

__weak unsigned long getRunTimeCounterValue(void)
{
return 0;
}
/* USER CODE END 1 */

/* USER CODE BEGIN 4 */
void vApplicationStackOverflowHook(xTaskHandle xTask, signed char *pcTaskName)
{
   /* Run time stack overflow checking is performed if
   configCHECK_FOR_STACK_OVERFLOW is defined to 1 or 2. This hook function is
   called if a stack overflow is detected. */
}
/* USER CODE END 4 */
